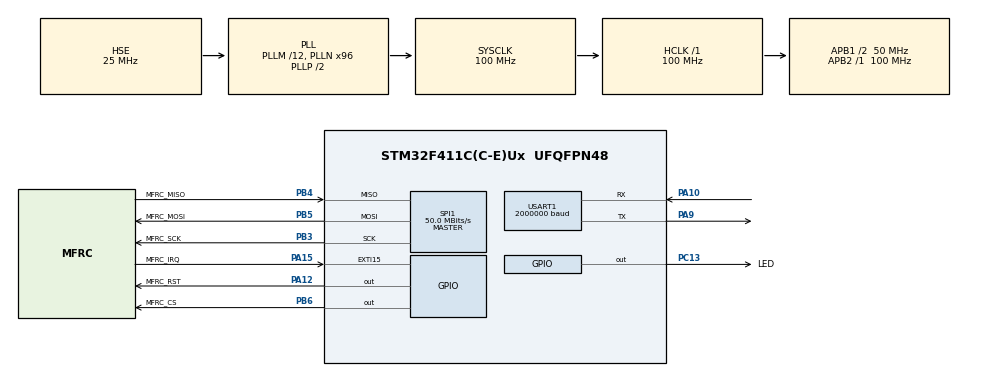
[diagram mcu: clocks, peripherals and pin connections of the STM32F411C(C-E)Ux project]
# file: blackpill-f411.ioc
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Mcu.Family=STM32F4
Mcu.Name=STM32F411C(C-E)Ux
Mcu.Package=UFQFPN48
NVIC.EXTI15_10_IRQn=true\:0\:0\:false\:false\:true\:true\:true\:true
NVIC.PriorityGroup=NVIC_PRIORITYGROUP_4
PA10.Mode=Asynchronous
PA10.Signal=USART1_RX
PA12.GPIO_Label=MFRC_RST
PA12.PinState=GPIO_PIN_RESET
PA12.Signal=GPIO_Output
PA13.Mode=Serial_Wire
PA13.Signal=SYS_JTMS-SWDIO
PA14.Mode=Serial_Wire
PA14.Signal=SYS_JTCK-SWCLK
PA15.GPIO_Label=MFRC_IRQ
PA15.GPIO_ModeDefaultEXTI=GPIO_MODE_IT_RISING_FALLING
PA15.GPIO_PuPd=GPIO_PULLDOWN
PA15.Signal=GPXTI15
PA9.Mode=Asynchronous
PA9.Signal=USART1_TX
PB3.GPIO_Label=MFRC_SCK
PB3.Mode=Full_Duplex_Master
PB3.Signal=SPI1_SCK
PB4.GPIO_Label=MFRC_MISO
PB4.Mode=Full_Duplex_Master
PB4.Signal=SPI1_MISO
PB5.GPIO_Label=MFRC_MOSI
PB5.Mode=Full_Duplex_Master
PB5.Signal=SPI1_MOSI
PB6.GPIO_Label=MFRC_CS
PB6.PinState=GPIO_PIN_SET
PB6.Signal=GPIO_Output
PC13-ANTI_TAMP.GPIO_Label=LED
PC13-ANTI_TAMP.GPIO_ModeDefaultOutputPP=GPIO_MODE_OUTPUT_OD
PC13-ANTI_TAMP.GPIO_PuPd=GPIO_NOPULL
PC13-ANTI_TAMP.PinState=GPIO_PIN_SET
PC13-ANTI_TAMP.Signal=GPIO_Output
PH0\ -\ OSC_IN.Mode=HSE-External-Oscillator
PH0\ -\ OSC_IN.Signal=RCC_OSC_IN
PH1\ -\ OSC_OUT.Mode=HSE-External-Oscillator
PH1\ -\ OSC_OUT.Signal=RCC_OSC_OUT
ProjectManager.HeapSize=0x200
ProjectManager.StackSize=0x400
ProjectManager.TargetToolchain=STM32CubeIDE
RCC.48MHZClocksFreq_Value=50000000
RCC.AHBFreq_Value=100000000
RCC.APB1CLKDivider=RCC_HCLK_DIV2
RCC.APB1Freq_Value=50000000
RCC.APB1TimFreq_Value=100000000
RCC.APB2Freq_Value=100000000
RCC.APB2TimFreq_Value=100000000
RCC.CortexFreq_Value=100000000
RCC.HCLKFreq_Value=100000000
RCC.HSE_VALUE=25000000
RCC.HSI_VALUE=16000000
RCC.LSE_VALUE=32768
RCC.PLLM=12
RCC.PLLN=96
RCC.PLLSourceVirtual=RCC_PLLSOURCE_HSE
RCC.SYSCLKFreq_VALUE=100000000
RCC.SYSCLKSource=RCC_SYSCLKSOURCE_PLLCLK
RCC.VCOOutputFreq_Value=200000000
SPI1.CalculateBaudRate=50.0 MBits/s
SPI1.Direction=SPI_DIRECTION_2LINES
SPI1.Mode=SPI_MODE_MASTER
SPI1.VirtualType=VM_MASTER
USART1.BaudRate=2000000
USART1.OverSampling=UART_OVERSAMPLING_8
USART1.VirtualMode=VM_ASYNC
board=custom

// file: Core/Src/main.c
/* USER CODE BEGIN Header */
/**
 ******************************************************************************
 * @file           : main.c
 * @brief          : Main program body
 ******************************************************************************
 * @attention
 *
 * Copyright (c) 2025 Lars Boegild Thomsen <lbthomsen@gmail.com>
 * All rights reserved.
 *
 * This software is licensed under terms that can be found in the LICENSE file
 * in the root directory of this software component.
 * If no LICENSE file comes with this software, it is provided AS-IS.
 *
 ******************************************************************************
 */
/* USER CODE END Header */
#include "main.h"

/* USER CODE BEGIN Includes */
#include <stdio.h>
#include "mfrc522.h"
/* USER CODE END Includes */

SPI_HandleTypeDef hspi1;

UART_HandleTypeDef huart1;

/* USER CODE BEGIN PV */

mfrc522_handle_t mfrc522;

/* USER CODE END PV */

void SystemClock_Config(void);
static void MX_GPIO_Init(void);
static void MX_USART1_UART_Init(void);
static void MX_SPI1_Init(void);

/* USER CODE BEGIN 0 */

// Send printf to uart1
int _write(int fd, char *ptr, int len) {
    HAL_StatusTypeDef hstatus;

    if (fd == 1 || fd == 2) {
        hstatus = HAL_UART_Transmit(&huart1, (uint8_t*) ptr, len, HAL_MAX_DELAY);
        if (hstatus == HAL_OK)
            return len;
        else
            return -1;
    }
    return -1;
}

void HAL_GPIO_EXTI_Callback(uint16_t GPIO_Pin) {
    if (GPIO_Pin == MFRC_IRQ_Pin) {
        printf("MFRC interrupt\n");
    }
}

/* USER CODE END 0 */

int main(void)
{

  /* MCU Configuration--------------------------------------------------------*/

  /* Reset of all peripherals, Initializes the Flash interface and the Systick. */
  HAL_Init();

  /* Configure the system clock */
  SystemClock_Config();

  /* Initialize all configured peripherals */
  MX_GPIO_Init();
  MX_USART1_UART_Init();
  MX_SPI1_Init();
  /* USER CODE BEGIN 2 */

    printf("\n\n\nStarting mfrc522 example\n");

    if (mfrc522_init(&mfrc522, &hspi1, MFRC_CS_GPIO_Port, MFRC_CS_Pin, MFRC_RST_GPIO_Port, MFRC_RST_Pin) != OK) {
        printf("Error initializing\n");
    }

  /* USER CODE END 2 */

  /* Infinite loop */
  /* USER CODE BEGIN WHILE */
    uint32_t now = 0, next_blink = 500, next_tick = 1000, loop_cnt = 0;

    while (1) {

        now = HAL_GetTick();

        //if (now - last_blink >= blink_delays[blink_delay]) {
        if (now >= next_blink) {

            //printf("Toggling GPIO\n");

            HAL_GPIO_TogglePin(LED_GPIO_Port, LED_Pin);

            next_blink = now + 500;
        }

        if (now >= next_tick) {

            printf("Tick %lu (loop count = %lu)\n", now / 1000, loop_cnt);

            loop_cnt = 0;
            next_tick = now + 1000;

        }

        ++loop_cnt;

    /* USER CODE END WHILE */

    }
}

void SystemClock_Config(void)
{
  RCC_OscInitTypeDef RCC_OscInitStruct = {0};
  RCC_ClkInitTypeDef RCC_ClkInitStruct = {0};

  /** Configure the main internal regulator output voltage
  */
  __HAL_RCC_PWR_CLK_ENABLE();
  __HAL_PWR_VOLTAGESCALING_CONFIG(PWR_REGULATOR_VOLTAGE_SCALE1);

  /** Initializes the RCC Oscillators according to the specified parameters
  * in the RCC_OscInitTypeDef structure.
  */
  RCC_OscInitStruct.OscillatorType = RCC_OSCILLATORTYPE_HSE;
  RCC_OscInitStruct.HSEState = RCC_HSE_ON;
  RCC_OscInitStruct.PLL.PLLState = RCC_PLL_ON;
  RCC_OscInitStruct.PLL.PLLSource = RCC_PLLSOURCE_HSE;
  RCC_OscInitStruct.PLL.PLLM = 12;
  RCC_OscInitStruct.PLL.PLLN = 96;
  RCC_OscInitStruct.PLL.PLLP = RCC_PLLP_DIV2;
  RCC_OscInitStruct.PLL.PLLQ = 4;
  if (HAL_RCC_OscConfig(&RCC_OscInitStruct) != HAL_OK)
  {
    Error_Handler();
  }

  /** Initializes the CPU, AHB and APB buses clocks
  */
  RCC_ClkInitStruct.ClockType = RCC_CLOCKTYPE_HCLK|RCC_CLOCKTYPE_SYSCLK
                              |RCC_CLOCKTYPE_PCLK1|RCC_CLOCKTYPE_PCLK2;
  RCC_ClkInitStruct.SYSCLKSource = RCC_SYSCLKSOURCE_PLLCLK;
  RCC_ClkInitStruct.AHBCLKDivider = RCC_SYSCLK_DIV1;
  RCC_ClkInitStruct.APB1CLKDivider = RCC_HCLK_DIV2;
  RCC_ClkInitStruct.APB2CLKDivider = RCC_HCLK_DIV1;

  if (HAL_RCC_ClockConfig(&RCC_ClkInitStruct, FLASH_LATENCY_3) != HAL_OK)
  {
    Error_Handler();
  }
}

static void MX_SPI1_Init(void)
{

  /* SPI1 parameter configuration*/
  hspi1.Instance = SPI1;
  hspi1.Init.Mode = SPI_MODE_MASTER;
  hspi1.Init.Direction = SPI_DIRECTION_2LINES;
  hspi1.Init.DataSize = SPI_DATASIZE_8BIT;
  hspi1.Init.CLKPolarity = SPI_POLARITY_LOW;
  hspi1.Init.CLKPhase = SPI_PHASE_1EDGE;
  hspi1.Init.NSS = SPI_NSS_SOFT;
  hspi1.Init.BaudRatePrescaler = SPI_BAUDRATEPRESCALER_2;
  hspi1.Init.FirstBit = SPI_FIRSTBIT_MSB;
  hspi1.Init.TIMode = SPI_TIMODE_DISABLE;
  hspi1.Init.CRCCalculation = SPI_CRCCALCULATION_DISABLE;
  hspi1.Init.CRCPolynomial = 10;
  if (HAL_SPI_Init(&hspi1) != HAL_OK)
  {
    Error_Handler();
  }

}

static void MX_USART1_UART_Init(void)
{

  huart1.Instance = USART1;
  huart1.Init.BaudRate = 2000000;
  huart1.Init.WordLength = UART_WORDLENGTH_8B;
  huart1.Init.StopBits = UART_STOPBITS_1;
  huart1.Init.Parity = UART_PARITY_NONE;
  huart1.Init.Mode = UART_MODE_TX_RX;
  huart1.Init.HwFlowCtl = UART_HWCONTROL_NONE;
  huart1.Init.OverSampling = UART_OVERSAMPLING_8;
  if (HAL_UART_Init(&huart1) != HAL_OK)
  {
    Error_Handler();
  }

}

static void MX_GPIO_Init(void)
{
  GPIO_InitTypeDef GPIO_InitStruct = {0};

  /* GPIO Ports Clock Enable */
  __HAL_RCC_GPIOC_CLK_ENABLE();
  __HAL_RCC_GPIOH_CLK_ENABLE();
  __HAL_RCC_GPIOA_CLK_ENABLE();
  __HAL_RCC_GPIOB_CLK_ENABLE();

  /*Configure GPIO pin Output Level */
  HAL_GPIO_WritePin(LED_GPIO_Port, LED_Pin, GPIO_PIN_SET);

  /*Configure GPIO pin Output Level */
  HAL_GPIO_WritePin(MFRC_RST_GPIO_Port, MFRC_RST_Pin, GPIO_PIN_RESET);

  /*Configure GPIO pin Output Level */
  HAL_GPIO_WritePin(MFRC_CS_GPIO_Port, MFRC_CS_Pin, GPIO_PIN_SET);

  /*Configure GPIO pin : LED_Pin */
  GPIO_InitStruct.Pin = LED_Pin;
  GPIO_InitStruct.Mode = GPIO_MODE_OUTPUT_OD;
  GPIO_InitStruct.Pull = GPIO_NOPULL;
  GPIO_InitStruct.Speed = GPIO_SPEED_FREQ_LOW;
  HAL_GPIO_Init(LED_GPIO_Port, &GPIO_InitStruct);

  /*Configure GPIO pin : MFRC_RST_Pin */
  GPIO_InitStruct.Pin = MFRC_RST_Pin;
  GPIO_InitStruct.Mode = GPIO_MODE_OUTPUT_PP;
  GPIO_InitStruct.Pull = GPIO_NOPULL;
  GPIO_InitStruct.Speed = GPIO_SPEED_FREQ_LOW;
  HAL_GPIO_Init(MFRC_RST_GPIO_Port, &GPIO_InitStruct);

  /*Configure GPIO pin : MFRC_IRQ_Pin */
  GPIO_InitStruct.Pin = MFRC_IRQ_Pin;
  GPIO_InitStruct.Mode = GPIO_MODE_IT_RISING_FALLING;
  GPIO_InitStruct.Pull = GPIO_PULLDOWN;
  HAL_GPIO_Init(MFRC_IRQ_GPIO_Port, &GPIO_InitStruct);

  /*Configure GPIO pin : MFRC_CS_Pin */
  GPIO_InitStruct.Pin = MFRC_CS_Pin;
  GPIO_InitStruct.Mode = GPIO_MODE_OUTPUT_PP;
  GPIO_InitStruct.Pull = GPIO_NOPULL;
  GPIO_InitStruct.Speed = GPIO_SPEED_FREQ_LOW;
  HAL_GPIO_Init(MFRC_CS_GPIO_Port, &GPIO_InitStruct);

  /* EXTI interrupt init*/
  HAL_NVIC_SetPriority(EXTI15_10_IRQn, 0, 0);
  HAL_NVIC_EnableIRQ(EXTI15_10_IRQn);

}

void Error_Handler(void)
{
    __disable_irq();
    while (1)
    {
    }
}
